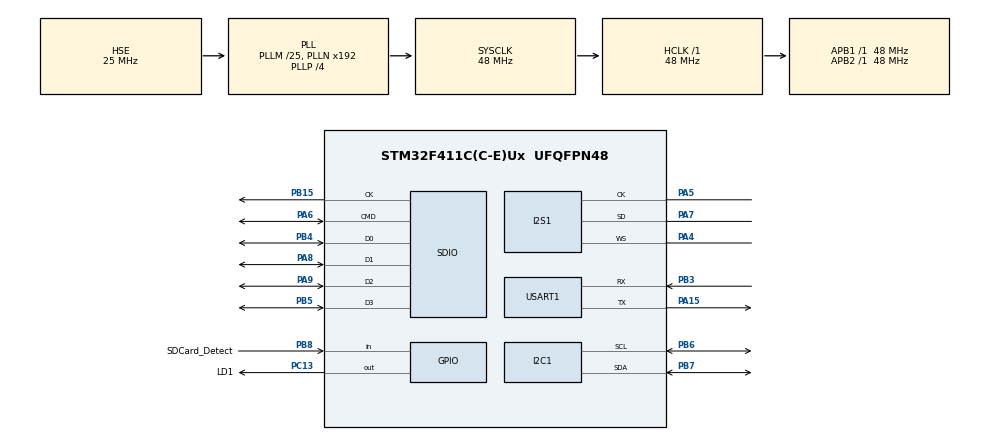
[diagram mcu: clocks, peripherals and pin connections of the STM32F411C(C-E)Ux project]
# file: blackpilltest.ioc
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Dma.Request0=SPI1_TX
Dma.SPI1_TX.0.Direction=DMA_MEMORY_TO_PERIPH
Dma.SPI1_TX.0.FIFOMode=DMA_FIFOMODE_DISABLE
Dma.SPI1_TX.0.Instance=DMA2_Stream2
Dma.SPI1_TX.0.MemDataAlignment=DMA_MDATAALIGN_HALFWORD
Dma.SPI1_TX.0.MemInc=DMA_MINC_ENABLE
Dma.SPI1_TX.0.Mode=DMA_NORMAL
Dma.SPI1_TX.0.PeriphDataAlignment=DMA_PDATAALIGN_HALFWORD
Dma.SPI1_TX.0.PeriphInc=DMA_PINC_DISABLE
Dma.SPI1_TX.0.Priority=DMA_PRIORITY_LOW
FATFS.BSP.number=1
FATFS._USE_LFN=0
FATFS0.BSP.STBoard=false
FATFS0.BSP.api=Unknown
FATFS0.BSP.i2caddr=0
FATFS0.BSP.instance=PB8
FATFS0.BSP.ip=GPIO
FATFS0.BSP.mode=Input
FATFS0.BSP.name=Detect_SDIO
FATFS0.BSP.solution=PB8
I2S1.AudioFreq=I2S_AUDIOFREQ_44K
I2S1.ErrorAudioFreq=-0.43 %
I2S1.FullDuplexMode=I2S_FULLDUPLEXMODE_DISABLE
I2S1.Instance=SPI$Index
I2S1.RealAudioFreq=43.808 KHz
I2S1.VirtualMode=I2S_MODE_MASTER
Mcu.Family=STM32F4
Mcu.Name=STM32F411C(C-E)Ux
Mcu.Package=UFQFPN48
NVIC.DMA2_Stream2_IRQn=true\:0\:0\:false\:false\:true\:false\:true
NVIC.PriorityGroup=NVIC_PRIORITYGROUP_4
NVIC.SPI1_IRQn=true\:0\:0\:false\:false\:true\:true\:true
PA13.Mode=Serial_Wire
PA13.Signal=SYS_JTMS-SWDIO
PA14.Mode=Serial_Wire
PA14.Signal=SYS_JTCK-SWCLK
PA15.Mode=Asynchronous
PA15.Signal=USART1_TX
PA4.Mode=Half_Duplex_Master
PA4.Signal=I2S1_WS
PA5.Mode=Half_Duplex_Master
PA5.Signal=I2S1_CK
PA6.Mode=SD_4_bits_Wide_bus
PA6.Signal=SDIO_CMD
PA7.Mode=Half_Duplex_Master
PA7.Signal=I2S1_SD
PA8.Mode=SD_4_bits_Wide_bus
PA8.Signal=SDIO_D1
PA9.Mode=SD_4_bits_Wide_bus
PA9.Signal=SDIO_D2
PB15.Mode=SD_4_bits_Wide_bus
PB15.Signal=SDIO_CK
PB3.Mode=Asynchronous
PB3.Signal=USART1_RX
PB4.Mode=SD_4_bits_Wide_bus
PB4.Signal=SDIO_D0
PB5.Mode=SD_4_bits_Wide_bus
PB5.Signal=SDIO_D3
PB6.Mode=I2C
PB6.Signal=I2C1_SCL
PB7.Mode=I2C
PB7.Signal=I2C1_SDA
PB8.GPIO_Label=SDCard_Detect
PB8.Signal=GPIO_Input
PC13-ANTI_TAMP.GPIO_Label=LD1
PC13-ANTI_TAMP.Signal=GPIO_Output
PC14-OSC32_IN.Mode=LSE-External-Oscillator
PC14-OSC32_IN.Signal=RCC_OSC32_IN
PC15-OSC32_OUT.Mode=LSE-External-Oscillator
PC15-OSC32_OUT.Signal=RCC_OSC32_OUT
PH0\ -\ OSC_IN.Mode=HSE-External-Oscillator
PH0\ -\ OSC_IN.Signal=RCC_OSC_IN
PH1\ -\ OSC_OUT.Mode=HSE-External-Oscillator
PH1\ -\ OSC_OUT.Signal=RCC_OSC_OUT
ProjectManager.HeapSize=0x200
ProjectManager.StackSize=0x400
ProjectManager.TargetToolchain=EWARM V8.32
RCC.48MHZClocksFreq_Value=16000000
RCC.AHBFreq_Value=48000000
RCC.APB1Freq_Value=48000000
RCC.APB1TimFreq_Value=48000000
RCC.APB2Freq_Value=48000000
RCC.APB2TimFreq_Value=48000000
RCC.CortexFreq_Value=48000000
RCC.HCLKFreq_Value=48000000
RCC.HSE_VALUE=25000000
RCC.HSI_VALUE=16000000
RCC.PLLM=25
RCC.PLLP=RCC_PLLP_DIV4
RCC.PLLQ=12
RCC.PLLSourceVirtual=RCC_PLLSOURCE_HSE
RCC.SYSCLKFreq_VALUE=48000000
RCC.SYSCLKSource=RCC_SYSCLKSOURCE_PLLCLK
RCC.VCOOutputFreq_Value=192000000
SDIO.ClockDiv=4
USART1.VirtualMode=VM_ASYNC
VP_FATFS_VS_SDIO.Mode=SDIO
board=custom

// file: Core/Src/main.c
/* USER CODE BEGIN Header */
/**
  ******************************************************************************
  * @file           : main.c
  * @brief          : Main program body
  ******************************************************************************
  * @attention
  *
  * <h2><center>&copy; Copyright (c) 2021 STMicroelectronics.
  * All rights reserved.</center></h2>
  *
  * This software component is licensed by ST under BSD 3-Clause license,
  * the "License"; You may not use this file except in compliance with the
  * License. You may obtain a copy of the License at:
  *                        opensource.org/licenses/BSD-3-Clause
  *
  ******************************************************************************
  */
/* USER CODE END Header */
#include "main.h"
#include "fatfs.h"

/* USER CODE BEGIN Includes */

#include "stdio.h"
#include "string.h"

/* USER CODE END Includes */

I2C_HandleTypeDef hi2c1;

I2S_HandleTypeDef hi2s1;
DMA_HandleTypeDef hdma_spi1_tx;

SD_HandleTypeDef hsd;

UART_HandleTypeDef huart1;

/* USER CODE BEGIN PV */

#ifdef __GNUC__
#define PUTCHAR_PROTOTYPE_PUT int __io_putchar(int ch)
#define PUTCHAR_PROTOTYPE_GET int __io_getchar(int ch)
#else
#define PUTCHAR_PROTOTYPE_PUT int fputc(int ch, FILE *f)
#define PUTCHAR_PROTOTYPE_GET int fgetc(FILE *f)
#endif

PUTCHAR_PROTOTYPE_PUT
{
  if(ch == '\n')
  {
    ch = '\r';
    HAL_UART_Transmit(&huart1, (uint8_t*)&ch, 1, 1000);
    ch = '\n';
    HAL_UART_Transmit(&huart1, (uint8_t*)&ch, 1, 1000);
  }
  else
    HAL_UART_Transmit(&huart1, (uint8_t*)&ch, 1, 1000);
  return ch;
}

PUTCHAR_PROTOTYPE_GET
{
  uint8_t ch;
  while( HAL_UART_Receive(&huart1, (uint8_t*)&ch, 1, 1000) != HAL_OK);
  return ch;
}

/* USER CODE END PV */

void SystemClock_Config(void);
static void MX_GPIO_Init(void);
static void MX_USART1_UART_Init(void);
static void MX_I2S1_Init(void);
static void MX_I2C1_Init(void);
static void MX_SDIO_SD_Init(void);
static void MX_DMA_Init(void);

/* USER CODE BEGIN 0 */

enum
{
  I2S_BUFFER_SELECT_A=0,
  I2S_BUFFER_SELECT_B
};

#define i2s_buffer_size 10240
uint8_t i2s_buffer_a[i2s_buffer_size];
uint8_t i2s_buffer_b[i2s_buffer_size];
uint8_t i2s_buffer_switch = I2S_BUFFER_SELECT_A;

uint8_t i2s_buffer_txcplt = 0;
uint8_t i2s_buffer_txhfcplt = 0;

void HAL_I2S_TxHalfCpltCallback(I2S_HandleTypeDef *hi2s)
{
  if(hi2s->Instance == hi2s1.Instance)
  {
    i2s_buffer_txhfcplt = 1;
  }
}

void HAL_I2S_TxCpltCallback(I2S_HandleTypeDef *hi2s)
{
  if(hi2s->Instance == hi2s1.Instance)
  {
    i2s_buffer_txcplt = 1;
  }
}

#define WM8960_ADDRESS  0x1a

void wm8960_write_reg(uint8_t addr, uint16_t data)
{
//  addr<<=1;
//  addr |= ((data>>8)&0x0001);
//  if(HAL_I2C_Mem_Write(&hi2c1, WM8960_ADDRESS, addr, 1, (uint8_t*)(data&0xff), 1, 1000) != HAL_OK)
//    printf("wm8960 write failed\n");

  uint8_t I2C_Data[2];

  I2C_Data[0] = (addr<<1)|((uint8_t)((data>>8)&0x0001));  //RegAddr
  I2C_Data[1] = (uint8_t)(data&0x00FF);                  //RegValue

  if(HAL_I2C_Master_Transmit(&hi2c1,(WM8960_ADDRESS<<1),I2C_Data,2,1000) != HAL_OK)
    printf("wm8960 write failed\n");

}

void wm8960_initial()
{
  wm8960_write_reg(0x0f, 0x00);
  wm8960_write_reg(0x19, 1<<8 | 1<<7 | 1<<6);
  wm8960_write_reg(0x1A, 1<<8 | 1<<7 | 1<<6 | 1<<5 | 1<<4 | 1<<3);
  wm8960_write_reg(0x2F, 1<<3 | 1<<2);

  //Configure clock
  //MCLK->div1->SYSCLK->DAC/ADC sample Freq = 25MHz(MCLK)/2*256 = 48.8kHz
  wm8960_write_reg(0x04, 0x0000);

  //Configure ADC/DAC
  wm8960_write_reg(0x05, 0x0000);

  //Configure audio interface
  //I2S format 16 bits word length
  wm8960_write_reg(0x07, 0x0002);

  //Configure HP_L and HP_R OUTPUTS
  wm8960_write_reg(0x02, 0x006F | 0x0100);  //LOUT1 Volume Set
  wm8960_write_reg(0x03, 0x006F | 0x0100);  //ROUT1 Volume Set

  //Configure SPK_RP and SPK_RN
  wm8960_write_reg(0x28, 0x007F | 0x0100); //Left Speaker Volume
  wm8960_write_reg(0x29, 0x007F | 0x0100); //Right Speaker Volume

  //Enable the OUTPUTS
  wm8960_write_reg(0x31, 0x00F7); //Enable Class D Speaker Outputs

  //Configure DAC volume
  wm8960_write_reg(0x0a, 0x00FF | 0x0100);
  wm8960_write_reg(0x0b, 0x00FF | 0x0100);

  //3D
//  wm8960_write_reg(0x10, 0x001F);

  //Configure MIXER
  wm8960_write_reg(0x22, 1<<8 | 1<<7);
  wm8960_write_reg(0x25, 1<<8 | 1<<7);

  //Jack Detect
  wm8960_write_reg(0x18, 1<<6 | 0<<5);
  wm8960_write_reg(0x17, 0x01C3);
  wm8960_write_reg(0x30, 0x0009);//0x000D,0x0005
}

char sdfilepath[128];
uint32_t filetotalsz=0;
uint32_t readbytes;

FRESULT res;
DIR dir;
FILINFO fno;
FIL wavfile;
FRESULT res;

uint8_t play_ended = 0;

/* USER CODE END 0 */

int main(void)
{

  /* MCU Configuration--------------------------------------------------------*/

  /* Reset of all peripherals, Initializes the Flash interface and the Systick. */
  HAL_Init();

  /* Configure the system clock */
  SystemClock_Config();

  /* Initialize all configured peripherals */
  MX_GPIO_Init();
  MX_USART1_UART_Init();
  MX_I2S1_Init();
  MX_I2C1_Init();
  MX_SDIO_SD_Init();
  MX_DMA_Init();
  MX_FATFS_Init();

  /* Infinite loop */
  /* USER CODE BEGIN WHILE */

  printf("F411CE Started\n");

  wm8960_initial();

  retSD = f_mount(&SDFatFS, (TCHAR const*)SDPath, 0);

  if(retSD != FR_OK)
  {
    printf("mount failed\n");
  }
  else
  {

    res = f_opendir(&dir, SDPath);
    if(res == FR_OK) {
      while(1)
      {
        res = f_readdir(&dir, &fno);
        if(res != FR_OK) break;
        if(fno.fname[0] == 0) break;

        printf("%s\n", fno.fname);
      }
      f_closedir(&dir);

    }
    else
    {
      printf("drive open failed\n");
    }
  }
  strcpy(sdfilepath, "0:/BILLEV~1.WAV");
  printf("opening %s\n", sdfilepath);

//  res = f_open(&wavfile, (TCHAR *)sdfilepath, FA_READ);
//
//  filetotalsz=0;
//  if(res == FR_OK)
//  {
//    res = f_read(&wavfile, i2s_buffer_a, i2s_buffer_size, &readbytes);
//    printf("\rread %5d bytes / total %8d", readbytes, filetotalsz);
//
//
//    do
//    {
//      i2s_buffer_txcplt = 0;
//      HAL_I2S_Transmit_DMA(&hi2s1,(uint16_t*) i2s_buffer_a, readbytes);
//
//      res = f_read(&wavfile, i2s_buffer_b, i2s_buffer_size, &readbytes);
//      filetotalsz += readbytes;
//      printf("\rread %5d bytes / total %8d", readbytes, filetotalsz);
//
//      while(i2s_buffer_txcplt == 0);
//
//      i2s_buffer_txcplt = 0;
//      HAL_I2S_Transmit_DMA(&hi2s1,(uint16_t*) i2s_buffer_b, readbytes);
//
//      res = f_read(&wavfile, i2s_buffer_a, i2s_buffer_size, &readbytes);
//      filetotalsz += readbytes;
//      printf("\rread %5d bytes / total %8d", readbytes, filetotalsz);
//
//      while(i2s_buffer_txcplt == 0);
//
//    } while(readbytes == i2s_buffer_size);
//
//    printf("\n");
//
//    printf("total file size %d\n", filetotalsz);
//
//    f_close(&wavfile);
//
//    successed_cnt++;
//  }
//  else
//  {
//    printf("open failed %s\n", sdfilepath);
//  }
//
//  while(1);

/*
  play_ended = 0;
  filetotalsz=0;

  res = f_open(&wavfile, (TCHAR *)sdfilepath, FA_READ);
  if(res == FR_OK)
  {
    f_read(&wavfile, i2s_buffer_a, i2s_buffer_size, &readbytes);
    filetotalsz += readbytes;

    i2s_buffer_txcplt = 0;
    HAL_I2S_Transmit_IT(&hi2s1,(uint16_t*) i2s_buffer_a, readbytes);

    f_read(&wavfile, i2s_buffer_b, i2s_buffer_size, &readbytes);
    i2s_buffer_switch = I2S_BUFFER_SELECT_B;
    filetotalsz += readbytes;
  }
  else
  {
    printf("not found %s\n", sdfilepath);
  }
  */

  i2s_buffer_txcplt=0;
  HAL_I2S_Transmit_DMA(&hi2s1,(uint16_t*) i2s_buffer_a, i2s_buffer_size);

  uint32_t tick=0;
  while (1)
  {
    /* USER CODE END WHILE */

    /* USER CODE BEGIN 3 */

    if(HAL_GetTick() - tick > 1000)
    {
      tick = HAL_GetTick();

      HAL_GPIO_TogglePin(LD1_GPIO_Port, LD1_Pin);
    }

    if(i2s_buffer_txcplt)
    {
      i2s_buffer_txcplt = 0;

//      if(play_ended == 0)
//      {
//
//        if(i2s_buffer_switch == I2S_BUFFER_SELECT_A)
//        {
//          i2s_buffer_txcplt = 0;
//          HAL_I2S_Transmit_IT(&hi2s1,(uint16_t*) i2s_buffer_a, readbytes);
//
//          if(readbytes != i2s_buffer_size)
//          {
//            play_ended = 1;
//            printf("play ended\n");
//          }
//
//          f_read(&wavfile, i2s_buffer_b, i2s_buffer_size, &readbytes);
//          i2s_buffer_switch = I2S_BUFFER_SELECT_B;
//          filetotalsz += readbytes;
//        }
//        else
//        {
//          i2s_buffer_txcplt = 0;
//          HAL_I2S_Transmit_IT(&hi2s1,(uint16_t*) i2s_buffer_b, readbytes);
//
//          if(readbytes != i2s_buffer_size)
//          {
//            play_ended = 1;
//            printf("play ended\n");
//          }
//
//          f_read(&wavfile, i2s_buffer_a, i2s_buffer_size, &readbytes);
//          i2s_buffer_switch = I2S_BUFFER_SELECT_A;
//          filetotalsz += readbytes;
//        }
//
//        printf("\r%8d", filetotalsz);
//      }

      i2s_buffer_txcplt=0;
      HAL_I2S_Transmit_DMA(&hi2s1,(uint16_t*) i2s_buffer_a, i2s_buffer_size);

      printf("full cplt\n");
    }

    if(i2s_buffer_txhfcplt)
    {
      i2s_buffer_txhfcplt = 0;

      printf("half cplt\n");
    }
  }
  /* USER CODE END 3 */
}

void SystemClock_Config(void)
{
  RCC_OscInitTypeDef RCC_OscInitStruct = {0};
  RCC_ClkInitTypeDef RCC_ClkInitStruct = {0};

  /** Configure the main internal regulator output voltage
  */
  __HAL_RCC_PWR_CLK_ENABLE();
  __HAL_PWR_VOLTAGESCALING_CONFIG(PWR_REGULATOR_VOLTAGE_SCALE1);
  /** Initializes the RCC Oscillators according to the specified parameters
  * in the RCC_OscInitTypeDef structure.
  */
  RCC_OscInitStruct.OscillatorType = RCC_OSCILLATORTYPE_HSE;
  RCC_OscInitStruct.HSEState = RCC_HSE_ON;
  RCC_OscInitStruct.PLL.PLLState = RCC_PLL_ON;
  RCC_OscInitStruct.PLL.PLLSource = RCC_PLLSOURCE_HSE;
  RCC_OscInitStruct.PLL.PLLM = 25;
  RCC_OscInitStruct.PLL.PLLN = 192;
  RCC_OscInitStruct.PLL.PLLP = RCC_PLLP_DIV4;
  RCC_OscInitStruct.PLL.PLLQ = 12;
  if (HAL_RCC_OscConfig(&RCC_OscInitStruct) != HAL_OK)
  {
    Error_Handler();
  }
  /** Initializes the CPU, AHB and APB buses clocks
  */
  RCC_ClkInitStruct.ClockType = RCC_CLOCKTYPE_HCLK|RCC_CLOCKTYPE_SYSCLK
                              |RCC_CLOCKTYPE_PCLK1|RCC_CLOCKTYPE_PCLK2;
  RCC_ClkInitStruct.SYSCLKSource = RCC_SYSCLKSOURCE_PLLCLK;
  RCC_ClkInitStruct.AHBCLKDivider = RCC_SYSCLK_DIV1;
  RCC_ClkInitStruct.APB1CLKDivider = RCC_HCLK_DIV1;
  RCC_ClkInitStruct.APB2CLKDivider = RCC_HCLK_DIV1;

  if (HAL_RCC_ClockConfig(&RCC_ClkInitStruct, FLASH_LATENCY_1) != HAL_OK)
  {
    Error_Handler();
  }
}

static void MX_I2C1_Init(void)
{

  hi2c1.Instance = I2C1;
  hi2c1.Init.ClockSpeed = 100000;
  hi2c1.Init.DutyCycle = I2C_DUTYCYCLE_2;
  hi2c1.Init.OwnAddress1 = 0;
  hi2c1.Init.AddressingMode = I2C_ADDRESSINGMODE_7BIT;
  hi2c1.Init.DualAddressMode = I2C_DUALADDRESS_DISABLE;
  hi2c1.Init.OwnAddress2 = 0;
  hi2c1.Init.GeneralCallMode = I2C_GENERALCALL_DISABLE;
  hi2c1.Init.NoStretchMode = I2C_NOSTRETCH_DISABLE;
  if (HAL_I2C_Init(&hi2c1) != HAL_OK)
  {
    Error_Handler();
  }

}

static void MX_I2S1_Init(void)
{

  hi2s1.Instance = SPI1;
  hi2s1.Init.Mode = I2S_MODE_MASTER_TX;
  hi2s1.Init.Standard = I2S_STANDARD_PHILIPS;
  hi2s1.Init.DataFormat = I2S_DATAFORMAT_16B;
  hi2s1.Init.MCLKOutput = I2S_MCLKOUTPUT_DISABLE;
  hi2s1.Init.AudioFreq = I2S_AUDIOFREQ_44K;
  hi2s1.Init.CPOL = I2S_CPOL_LOW;
  hi2s1.Init.ClockSource = I2S_CLOCK_PLL;
  hi2s1.Init.FullDuplexMode = I2S_FULLDUPLEXMODE_DISABLE;
  if (HAL_I2S_Init(&hi2s1) != HAL_OK)
  {
    Error_Handler();
  }

}

static void MX_SDIO_SD_Init(void)
{

  hsd.Instance = SDIO;
  hsd.Init.ClockEdge = SDIO_CLOCK_EDGE_RISING;
  hsd.Init.ClockBypass = SDIO_CLOCK_BYPASS_DISABLE;
  hsd.Init.ClockPowerSave = SDIO_CLOCK_POWER_SAVE_DISABLE;
  hsd.Init.BusWide = SDIO_BUS_WIDE_1B;
  hsd.Init.HardwareFlowControl = SDIO_HARDWARE_FLOW_CONTROL_DISABLE;
  hsd.Init.ClockDiv = 4;

}

static void MX_USART1_UART_Init(void)
{

  huart1.Instance = USART1;
  huart1.Init.BaudRate = 115200;
  huart1.Init.WordLength = UART_WORDLENGTH_8B;
  huart1.Init.StopBits = UART_STOPBITS_1;
  huart1.Init.Parity = UART_PARITY_NONE;
  huart1.Init.Mode = UART_MODE_TX_RX;
  huart1.Init.HwFlowCtl = UART_HWCONTROL_NONE;
  huart1.Init.OverSampling = UART_OVERSAMPLING_16;
  if (HAL_UART_Init(&huart1) != HAL_OK)
  {
    Error_Handler();
  }

}

static void MX_DMA_Init(void)
{

  /* DMA controller clock enable */
  __HAL_RCC_DMA2_CLK_ENABLE();

  /* DMA interrupt init */
  /* DMA2_Stream2_IRQn interrupt configuration */
  HAL_NVIC_SetPriority(DMA2_Stream2_IRQn, 0, 0);
  HAL_NVIC_EnableIRQ(DMA2_Stream2_IRQn);

}

static void MX_GPIO_Init(void)
{
  GPIO_InitTypeDef GPIO_InitStruct = {0};

  /* GPIO Ports Clock Enable */
  __HAL_RCC_GPIOC_CLK_ENABLE();
  __HAL_RCC_GPIOH_CLK_ENABLE();
  __HAL_RCC_GPIOA_CLK_ENABLE();
  __HAL_RCC_GPIOB_CLK_ENABLE();

  /*Configure GPIO pin Output Level */
  HAL_GPIO_WritePin(LD1_GPIO_Port, LD1_Pin, GPIO_PIN_RESET);

  /*Configure GPIO pin : LD1_Pin */
  GPIO_InitStruct.Pin = LD1_Pin;
  GPIO_InitStruct.Mode = GPIO_MODE_OUTPUT_PP;
  GPIO_InitStruct.Pull = GPIO_NOPULL;
  GPIO_InitStruct.Speed = GPIO_SPEED_FREQ_LOW;
  HAL_GPIO_Init(LD1_GPIO_Port, &GPIO_InitStruct);

  /*Configure GPIO pin : SDCard_Detect_Pin */
  GPIO_InitStruct.Pin = SDCard_Detect_Pin;
  GPIO_InitStruct.Mode = GPIO_MODE_INPUT;
  GPIO_InitStruct.Pull = GPIO_NOPULL;
  HAL_GPIO_Init(SDCard_Detect_GPIO_Port, &GPIO_InitStruct);

}

void Error_Handler(void)
{
  __disable_irq();
  while (1)
  {
  }
}

/************************ (C) COPYRIGHT STMicroelectronics *****END OF FILE****/
